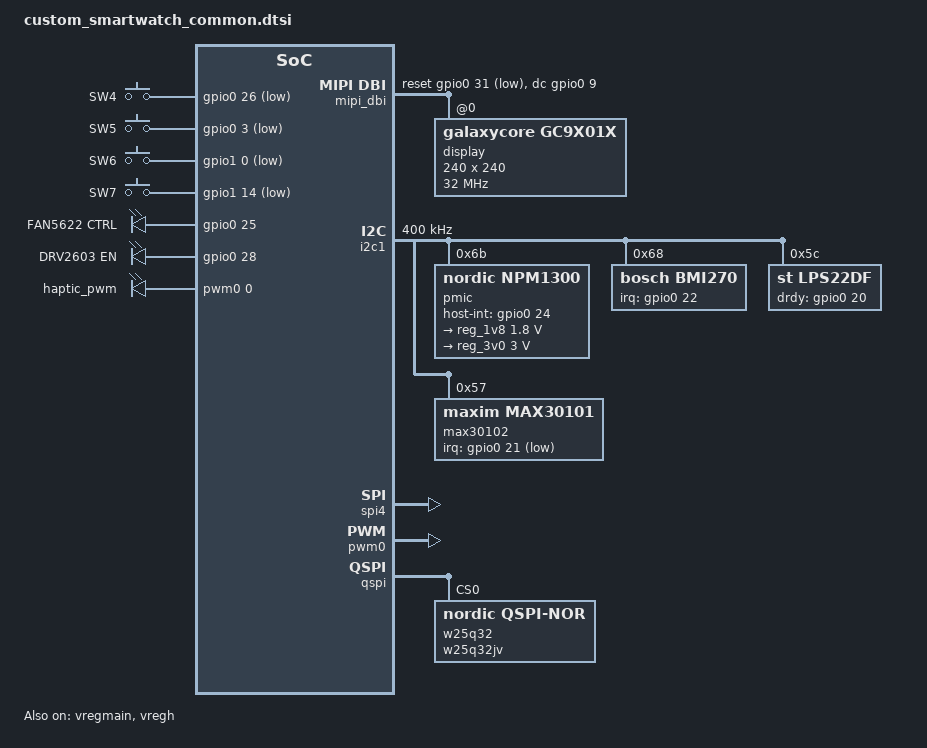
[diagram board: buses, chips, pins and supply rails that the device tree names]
/*
 * SPDX-License-Identifier: Apache-2.0
 */

#include <zephyr/dt-bindings/gpio/gpio.h>
#include <zephyr/dt-bindings/i2c/i2c.h>
#include <zephyr/dt-bindings/input/input-event-codes.h>
#include <zephyr/dt-bindings/display/panel.h>
#include <zephyr/dt-bindings/pwm/pwm.h>

#include "custom_smartwatch-pinctrl.dtsi"

/ {
	chosen {
		zephyr,bt-hci = &bt_hci_ipc0;
		zephyr,display = &display;
	};

	buttons {
		compatible = "gpio-keys";

		button0: button_0 {
			gpios = <&gpio0 26 (GPIO_PULL_UP | GPIO_ACTIVE_LOW)>;
			label = "SW4";
			zephyr,code = <INPUT_KEY_0>;
		};

		button1: button_1 {
			gpios = <&gpio0 3 (GPIO_PULL_UP | GPIO_ACTIVE_LOW)>;
			label = "SW5";
			zephyr,code = <INPUT_KEY_1>;
		};

		button2: button_2 {
			gpios = <&gpio1 0 (GPIO_PULL_UP | GPIO_ACTIVE_LOW)>;
			label = "SW6";
			zephyr,code = <INPUT_KEY_2>;
		};

		button3: button_3 {
			gpios = <&gpio1 14 (GPIO_PULL_UP | GPIO_ACTIVE_LOW)>;
			label = "SW7";
			zephyr,code = <INPUT_KEY_3>;
		};
	};

	backlight {
		compatible = "gpio-leds";

		display_backlight: display_backlight {
			gpios = <&gpio0 25 GPIO_ACTIVE_HIGH>;
			label = "FAN5622 CTRL";
		};
	};

	haptic_enable {
		compatible = "gpio-leds";

		haptic_en: haptic_en {
			gpios = <&gpio0 28 GPIO_ACTIVE_HIGH>;
			label = "DRV2603 EN";
		};
	};

	haptic {
		compatible = "pwm-leds";

		haptic_pwm: haptic_pwm {
			pwms = <&pwm0 0 PWM_MSEC(1) PWM_POLARITY_NORMAL>;
		};
	};

	aliases {
		i2c-0 = &i2c1;
		display-backlight = &display_backlight;
		haptic-en = &haptic_en;
		pwm-led0 = &haptic_pwm;
		sw0 = &button0;
		sw1 = &button1;
		sw2 = &button2;
		sw3 = &button3;
	};
};

&vregmain {
	status = "okay";
	regulator-initial-mode = <NRF5X_REG_MODE_DCDC>;
};

&vregradio {
	regulator-initial-mode = <NRF5X_REG_MODE_DCDC>;
};

&vregh {
	status = "okay";
};

&gpio0 {
	status = "okay";
};

&gpio1 {
	status = "okay";
};

&gpiote {
	status = "okay";
};

&i2c1 {
	compatible = "nordic,nrf-twim";
	status = "okay";
	clock-frequency = <I2C_BITRATE_FAST>;
	pinctrl-0 = <&i2c1_default>;
	pinctrl-1 = <&i2c1_sleep>;
	pinctrl-names = "default", "sleep";

	pmic: npm1300@6b {
		compatible = "nordic,npm1300";
		reg = <0x6b>;
		host-int-gpios = <&gpio0 24 GPIO_ACTIVE_HIGH>;
		pmic-int-pin = <1>;
		status = "okay";

		regulators {
			compatible = "nordic,npm1300-regulator";
			status = "okay";

			reg_1v8: BUCK1 {
				regulator-min-microvolt = <1800000>;
				regulator-max-microvolt = <1800000>;
			};

			reg_3v0: BUCK2 {
				regulator-min-microvolt = <3000000>;
				regulator-max-microvolt = <3000000>;
			};
		};

		pmic_charger: charger {
			compatible = "nordic,npm1300-charger";
			status = "okay";
			term-microvolt = <4150000>;
			current-microamp = <100000>;
			dischg-limit-microamp = <1000000>;
			vbus-limit-microamp = <500000>;
			thermistor-ohms = <0>;
			thermistor-beta = <0>;
		};
	};

	bmi270: bmi270@68 {
		compatible = "bosch,bmi270";
		reg = <0x68>;
		irq-gpios = <&gpio0 22 GPIO_ACTIVE_HIGH>;
		status = "okay";
	};

	lps22df: lps22df@5c {
		compatible = "st,lps22df";
		reg = <0x5c>;
		drdy-gpios = <&gpio0 20 GPIO_ACTIVE_HIGH>;
		status = "okay";
	};

	max30102: max30102@57 {
		compatible = "maxim,max30101";
		reg = <0x57>;
		irq-gpios = <&gpio0 21 (GPIO_PULL_UP | GPIO_ACTIVE_LOW)>;
		acq-mode = "spo2";
		smp-ave = <4>;
		adc-rge = <8192>;
		smp-sr = <50>;
		led-pw = <411>;
		led-pa = [24 24 00];
		fifo-rollover-en;
		status = "okay";
	};
};

&spi4 {
	compatible = "nordic,nrf-spim";
	status = "okay";
	cs-gpios = <&gpio0 12 GPIO_ACTIVE_LOW>;
	pinctrl-0 = <&spi4_default>;
	pinctrl-1 = <&spi4_sleep>;
	pinctrl-names = "default", "sleep";
};

/ {
	mipi_dbi {
		compatible = "zephyr,mipi-dbi-spi";
		status = "okay";
		spi-dev = <&spi4>;
		dc-gpios = <&gpio0 9 GPIO_ACTIVE_HIGH>;
		reset-gpios = <&gpio0 31 GPIO_ACTIVE_LOW>;
		write-only;
		#address-cells = <1>;
		#size-cells = <0>;

		display: gc9a01@0 {
			compatible = "galaxycore,gc9x01x";
			reg = <0>;
			mipi-max-frequency = <DT_FREQ_M(32)>;
			pixel-format = <PANEL_PIXEL_FORMAT_RGB_565>;
			width = <240>;
			height = <240>;
			display-inversion;
			status = "okay";
		};
	};
};

&pwm0 {
	status = "okay";
	pinctrl-0 = <&pwm0_default>;
	pinctrl-1 = <&pwm0_sleep>;
	pinctrl-names = "default", "sleep";
};

&qspi {
	status = "okay";
	pinctrl-0 = <&qspi_default>;
	pinctrl-1 = <&qspi_sleep>;
	pinctrl-names = "default", "sleep";

	w25q32: w25q32jv@0 {
		compatible = "nordic,qspi-nor";
		reg = <0>;
		writeoc = "pp4io";
		readoc = "read4io";
		sck-frequency = <8000000>;
		jedec-id = [ef 40 16];
		size = <33554432>;
		has-dpd;
		t-enter-dpd = <3000>;
		t-exit-dpd = <30000>;
		status = "okay";
	};
};
